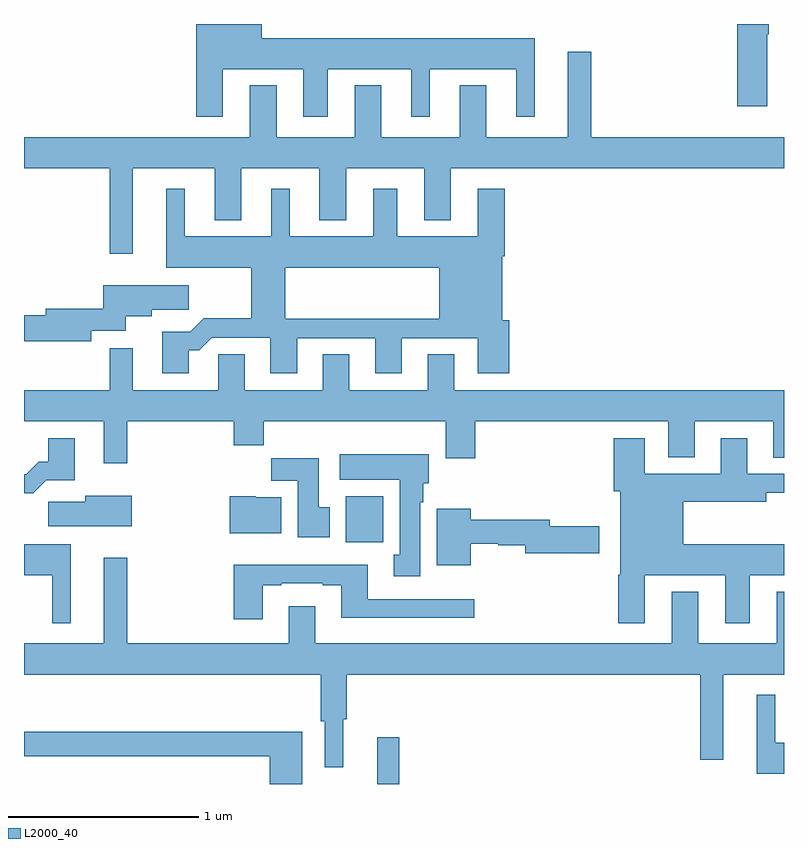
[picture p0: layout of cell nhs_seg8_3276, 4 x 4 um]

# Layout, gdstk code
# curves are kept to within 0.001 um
import gdstk
lib = gdstk.Library(unit=1e-6, precision=1e-09)
def R(c, l, rs):  # rectangles x0, y0, x1, y1
    for r in rs: c.add(gdstk.rectangle(r[:2], r[2:], *l))
def P(c, l, *ps):  # polygons
    for p in ps: c.add(gdstk.Polygon(p, *l))
L2000_40 = (2000, 40)

nhs_seg8_3276 = lib.new_cell('nhs_seg8_3276')
R(nhs_seg8_3276, L2000_40, [(314.858,1139.9,314.975,1140.145), (314.693,1141.172,314.89,1141.414)])
P(nhs_seg8_3276, L2000_40, [(316.912,1143.847),(316.92,1143.847),(316.92,1143.9),(316.754,1143.9),(316.754,1143.468),(316.912,1143.468)],
  [(314.047,1143.662),(314.471,1143.662),(314.471,1143.411),(314.599,1143.411),(314.599,1143.662),(315.038,1143.662),(315.038,1143.411),(315.136,1143.411),(315.136,1143.662),(315.59,1143.662),(315.59,1143.411),(315.688,1143.411),(315.688,1143.826),(314.251,1143.826),(314.251,1143.9),(313.907,1143.9),(313.907,1143.411),(314.047,1143.411)],
  [(313,1143.14),(313.452,1143.14),(313.452,1142.691),(313.573,1142.691),(313.573,1143.14),(314.003,1143.14),(314.003,1142.867),(314.143,1142.867),(314.143,1143.14),(314.555,1143.14),(314.555,1142.867),(314.695,1142.867),(314.695,1143.14),(315.107,1143.14),(315.107,1142.867),(315.247,1142.867),(315.247,1143.14),(317,1143.14),(317,1143.304),(315.985,1143.304),(315.985,1143.754),(315.863,1143.754),(315.863,1143.304),(315.433,1143.304),(315.433,1143.577),(315.293,1143.577),(315.293,1143.304),(314.881,1143.304),(314.881,1143.577),(314.741,1143.577),(314.741,1143.304),(314.329,1143.304),(314.329,1143.577),(314.189,1143.577),(314.189,1143.304),(313,1143.304)],
  [(313.727,1142.281),(313.727,1142.061),(313.867,1142.061),(313.867,1142.183),(313.922,1142.183),(313.989,1142.25),(314.297,1142.25),(314.297,1142.061),(314.437,1142.061),(314.437,1142.247),(314.849,1142.247),(314.849,1142.061),(314.989,1142.061),(314.989,1142.247),(315.389,1142.247),(315.389,1142.061),(315.554,1142.061),(315.554,1142.34),(315.517,1142.34),(315.517,1142.678),(315.53,1142.678),(315.53,1143.034),(315.389,1143.034),(315.389,1142.782),(314.965,1142.782),(314.965,1143.034),(314.837,1143.034),(314.837,1142.782),(314.398,1142.782),(314.398,1143.034),(314.3,1143.034),(314.3,1142.782),(313.846,1142.782),(313.846,1143.034),(313.748,1143.034),(313.748,1142.618),(314.197,1142.618),(314.197,1142.351),(313.946,1142.351),(313.943,1142.348),(314.375,1142.348),(314.375,1142.618),(315.185,1142.618),(315.185,1142.348),(313.943,1142.348),(313.876,1142.281)],
  [(313.354,1142.286),(313.535,1142.286),(313.535,1142.363),(313.672,1142.363),(313.672,1142.395),(313.867,1142.395),(313.867,1142.524),(313.417,1142.524),(313.417,1142.402),(313.115,1142.402),(313.115,1142.366),(313,1142.366),(313,1142.231),(313.354,1142.231)],
  [(313.543,1141.808),(314.105,1141.808),(314.105,1141.684),(314.261,1141.684),(314.261,1141.808),(315.221,1141.808),(315.221,1141.614),(315.374,1141.614),(315.374,1141.808),(316.391,1141.808),(316.391,1141.619),(316.531,1141.619),(316.531,1141.808),(316.943,1141.808),(316.943,1141.618),(317,1141.618),(317,1141.972),(315.265,1141.972),(315.265,1142.162),(315.125,1142.162),(315.125,1141.972),(314.713,1141.972),(314.713,1142.162),(314.573,1142.162),(314.573,1141.972),(314.161,1141.972),(314.161,1142.162),(314.022,1142.162),(314.022,1141.972),(313.573,1141.972),(313.573,1142.194),(313.452,1142.194),(313.452,1141.972),(313,1141.972),(313,1141.808),(313.421,1141.808),(313.421,1141.587),(313.543,1141.587)],
  [(316.267,1140.998),(316.691,1140.998),(316.691,1140.747),(316.819,1140.747),(316.819,1140.998),(317,1140.998),(317,1141.162),(316.471,1141.162),(316.471,1141.385),(316.906,1141.385),(316.906,1141.432),(317,1141.432),(317,1141.533),(316.807,1141.533),(316.807,1141.72),(316.667,1141.72),(316.667,1141.534),(316.267,1141.534),(316.267,1141.72),(316.103,1141.72),(316.103,1141.44),(316.139,1141.44),(316.139,1141.002),(316.127,1141.002),(316.127,1140.747),(316.267,1140.747)],
  [(313.118,1141.499),(313.267,1141.499),(313.267,1141.72),(313.127,1141.72),(313.127,1141.597),(313.078,1141.597),(313.011,1141.53),(313,1141.53),(313,1141.43),(313.049,1141.43)],
  [(315.085,1141.382),(315.1,1141.382),(315.1,1141.482),(315.13,1141.482),(315.13,1141.636),(314.661,1141.636),(314.661,1141.502),(314.978,1141.502),(314.978,1141.106),(314.945,1141.106),(314.945,1140.993),(315.085,1140.993)],
  [(314.608,1141.356),(314.551,1141.356),(314.551,1141.615),(314.302,1141.615),(314.302,1141.496),(314.441,1141.496),(314.441,1141.2),(314.608,1141.2)],
  [(313.567,1141.417),(313.322,1141.417),(313.322,1141.385),(313.128,1141.385),(313.128,1141.256),(313.567,1141.256)],
  [(314.353,1141.408),(314.22,1141.408),(314.22,1141.414),(314.084,1141.414),(314.084,1141.22),(314.353,1141.22)],
  [(315.352,1141.164),(315.495,1141.164),(315.495,1141.156),(315.638,1141.156),(315.638,1141.114),(316.027,1141.114),(316.027,1141.256),(315.766,1141.256),(315.766,1141.292),(315.352,1141.292),(315.352,1141.348),(315.173,1141.348),(315.173,1141.052),(315.352,1141.052)],
  [(313.246,1141.162),(313,1141.162),(313,1140.998),(313.148,1140.998),(313.148,1140.747),(313.246,1140.747)],
  [(314.681,1140.24),(314.699,1140.24),(314.699,1140.476),(316.56,1140.476),(316.56,1140.027),(316.681,1140.027),(316.681,1140.476),(317,1140.476),(317,1140.913),(316.961,1140.913),(316.961,1140.64),(316.549,1140.64),(316.549,1140.913),(316.409,1140.913),(316.409,1140.64),(314.533,1140.64),(314.533,1140.835),(314.393,1140.835),(314.393,1140.64),(313.543,1140.64),(313.543,1141.09),(313.421,1141.09),(313.421,1140.64),(313,1140.64),(313,1140.476),(314.563,1140.476),(314.563,1140.229),(314.583,1140.229),(314.583,1139.988),(314.681,1139.988)],
  [(314.257,1140.945),(314.353,1140.945),(314.353,1140.957),(314.573,1140.957),(314.573,1140.945),(314.669,1140.945),(314.669,1140.776),(315.37,1140.776),(315.37,1140.873),(314.809,1140.873),(314.809,1141.054),(314.105,1141.054),(314.105,1140.768),(314.257,1140.768)],
  [(317,1140.118),(316.954,1140.118),(316.954,1140.37),(316.856,1140.37),(316.856,1139.954),(317,1139.954)],
  [(314.464,1140.175),(313,1140.175),(313,1140.046),(314.294,1140.046),(314.294,1139.9),(314.464,1139.9)])

lib.write_gds('nhs_seg8_3276.gds')
